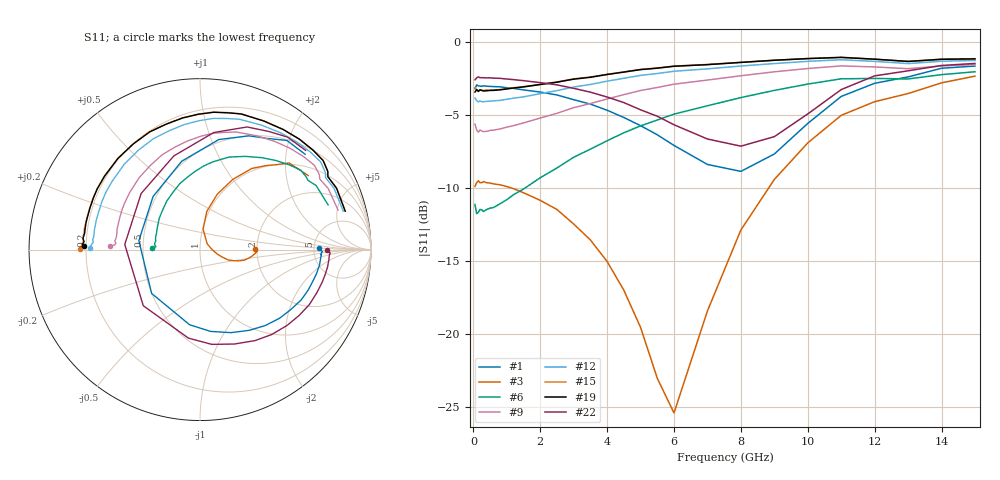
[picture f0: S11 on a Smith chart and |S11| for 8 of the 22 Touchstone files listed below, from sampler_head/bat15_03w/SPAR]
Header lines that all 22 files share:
! SIEMENS Small Signal Semiconductors
! BAT15-03W
! Si Schottky Diode in SOD323
! S-Parameters:  May  1996
# GHz  S  MA  R  50
!  f  S11
! GHz  MAG  ANG
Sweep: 50 MHz to 15 GHz
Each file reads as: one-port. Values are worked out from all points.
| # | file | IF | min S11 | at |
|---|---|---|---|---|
| 1 | TOV00M10.S1P | 0.1 mA | -8.8 dB | 8 GHz |
| 2 | TOV00M20.S1P | 0.2 mA | -20.8 dB | 7 GHz |
| 3 | TOV00M30.S1P | 0.3 mA | -25.4 dB | 6 GHz |
| 4 | TOV00M50.S1P | 0.5 mA | -19.4 dB | 200 MHz |
| 5 | TOV001M0.S1P | 1 mA | -14.4 dB | 150 MHz |
| 6 | TOV001M2.S1P | 1.2 mA | -11.7 dB | 100 MHz |
| 7 | TOV001M5.S1P | 1.5 mA | -9.3 dB | 150 MHz |
| 8 | TOV002M0.S1P | 2 mA | -7.3 dB | 150 MHz |
| 9 | TOV002M5.S1P | 2.5 mA | -6.1 dB | 150 MHz |
| 10 | TOV003M0.S1P | 3 mA | -5.4 dB | 150 MHz |
| 11 | TOV004M0.S1P | 4 mA | -4.6 dB | 50 MHz |
| 12 | TOV005M0.S1P | 5 mA | -4.1 dB | 150 MHz |
| 13 | TOV006M0.S1P | 6 mA | -3.8 dB | 300 MHz |
| 14 | TOV008M0.S1P | 8 mA | -3.4 dB | 400 MHz |
| 15 | TOV0010M.S1P | 10 mA | -3.3 dB | 150 MHz |
| 16 | TOV0012M.S1P | 12 mA | -3.2 dB | 300 MHz |
| 17 | TOV0015M.S1P | 15 mA | -3.2 dB | 50 MHz |
| 18 | TOV0020M.S1P | 20 mA | -3.3 dB | 150 MHz |
| 19 | TOV0025M.S1P | 25 mA | -3.4 dB | 50 MHz |
| 20 | TOV0030M.S1P | 30 mA | -3.5 dB | 150 MHz |
| 21 | TOV0050U.S1P | 0.05 mA | -4.6 dB | 8 GHz |
| 22 | TOV0080U.S1P | 0.08 mA | -7.1 dB | 8 GHz |
